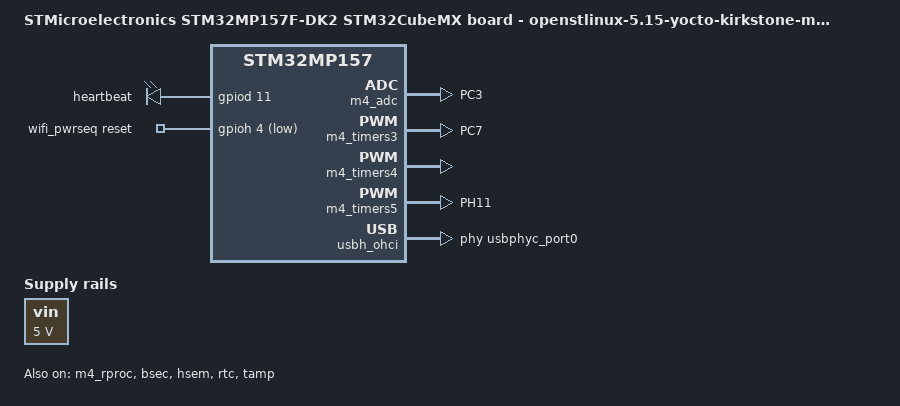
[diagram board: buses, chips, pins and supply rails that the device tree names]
/* SPDX-License-Identifier: (GPL-2.0+ OR BSD-3-Clause) */
/*
 * Copyright (C) STMicroelectronics 2024 - All Rights Reserved
 * Author: STM32CubeMX code generation for STMicroelectronics.
 */

/* For more information on Device Tree configuration, please refer to
 * https://wiki.st.com/stm32mpu/wiki/Category:Device_tree_configuration
 */

/dts-v1/;
#include <dt-bindings/pinctrl/stm32-pinfunc.h>

#include "stm32mp157.dtsi"
#include "stm32mp15xf.dtsi"
#include "stm32mp15xxac-pinctrl.dtsi"
#include "stm32mp15-m4-srm.dtsi"

/* USER CODE BEGIN includes */
#include <dt-bindings/gpio/gpio.h>
#include <dt-bindings/mfd/st,stpmic1.h>
#include <dt-bindings/rtc/rtc-stm32.h>
/* USER CODE END includes */

/ {
	model = "STMicroelectronics STM32MP157F-DK2 STM32CubeMX board - openstlinux-5.15-yocto-kirkstone-mp1-v22.11.23";
	compatible = "st,stm32mp157f-bsttestrelease-mx", "st,stm32mp157";

	/* !!! log : Warning - no DDR config found: 'memory' node not generated  !!! */

	/*
	memory@??? {
		reg = < ??? >;
	};
	*/

	reserved-memory {
		#address-cells = <1>;
		#size-cells = <1>;
		ranges;

		/* USER CODE BEGIN reserved-memory */

		mcuram2:mcuram2@10000000{
			compatible = "shared-dma-pool";
			reg = <0x10000000 0x40000>;
			no-map;
		};

		vdev0vring0:vdev0vring0@10040000{
			compatible = "shared-dma-pool";
			reg = <0x10040000 0x1000>;
			no-map;
		};

		vdev0vring1:vdev0vring1@10041000{
			compatible = "shared-dma-pool";
			reg = <0x10041000 0x1000>;
			no-map;
		};

		vdev0buffer:vdev0buffer@10042000{
			compatible = "shared-dma-pool";
			reg = <0x10042000 0x4000>;
			no-map;
		};

		mcu_rsc_table:mcu_rsc_table@10048000{
			compatible = "shared-dma-pool";
			reg = <0x10048000 0x8000>;
			no-map;
		};

		mcuram:mcuram@30000000{
			compatible = "shared-dma-pool";
			reg = <0x30000000 0x40000>;
			no-map;
		};

		retram:retram@38000000{
			compatible = "shared-dma-pool";
			reg = <0x38000000 0x10000>;
			no-map;
		};

		gpu_reserved:gpu@d4000000{
			reg = <0xd4000000 0x4000000>;
			no-map;
		};

		optee@de000000{
			reg = <0xde000000 0x2000000>;
			no-map;
		};
		/* USER CODE END reserved-memory */
	};

	/* USER CODE BEGIN root */

	aliases{
		ethernet0 = &ethernet0;
		serial0 = &uart4;
		serial1 = &usart3;
		serial2 = &uart7;
		serial3 = &usart2;
	};

	led{
		compatible = "gpio-leds";

		led-blue{
			label = "heartbeat";
			gpios = <&gpiod 11 GPIO_ACTIVE_HIGH>;
			linux,default-trigger = "heartbeat";
			default-state = "off";
		};
	};

	sound:sound{
		compatible = "audio-graph-card";
		label = "STM32MP15-DK";
		routing = "Playback", "MCLK",
				"Capture", "MCLK",
				"MICL", "Mic Bias";
		dais = <&sai2a_port &sai2b_port &i2s2_port>;
		status = "okay";
	};

	vin:vin{
		compatible = "regulator-fixed";
		regulator-name = "vin";
		regulator-min-microvolt = <5000000>;
		regulator-max-microvolt = <5000000>;
		regulator-always-on;
	};

	chosen{
		#address-cells = <1>;
		#size-cells = <1>;
		ranges;
		stdout-path = "serial0:115200n8";
	};

	wifi_pwrseq:wifi-pwrseq{
		compatible = "mmc-pwrseq-simple";
		reset-gpios = <&gpioh 4 GPIO_ACTIVE_LOW>;
	};
	/* USER CODE END root */

	clocks {

		/* USER CODE BEGIN clocks */
		/* USER CODE END clocks */
	};

}; /*root*/

&pinctrl {

	m4_adc_pins_mx: m4_adc_mx-0 {
		pins {
			pinmux = <STM32_PINMUX('C', 3, ANALOG)>; /* ADC1_INP13 */
		};
	};

	m4_tim3_pins_mx: m4_tim3_mx-0 {
		pins {
			pinmux = <STM32_PINMUX('C', 7, RSVD)>; /* TIM3_CH2 */
		};
	};

	m4_tim5_pins_mx: m4_tim5_mx-0 {
		pins {
			pinmux = <STM32_PINMUX('H', 11, RSVD)>; /* TIM5_CH2 */
		};
	};

	/* USER CODE BEGIN pinctrl */
	/* USER CODE END pinctrl */
};

&pinctrl_z {

	/* USER CODE BEGIN pinctrl_z */
	/* USER CODE END pinctrl_z */
};

&m4_rproc{
	/*Restriction: "memory-region" property is not managed - please to use User-Section if needed*/
	mboxes = <&ipcc 0>, <&ipcc 1>, <&ipcc 2>;
	mbox-names = "vq0", "vq1", "shutdown";
	status = "okay";

	/* USER CODE BEGIN m4_rproc */
	memory-region = <&retram>, <&mcuram>, <&mcuram2>, <&vdev0vring0>,
			<&vdev0vring1>, <&vdev0buffer>, <&mcu_rsc_table>;
	interrupt-parent = <&exti>;
	interrupts = <68 1>;
	wakeup-source;
	/* USER CODE END m4_rproc */

	m4_system_resources{
		status = "okay";

		/* USER CODE BEGIN m4_system_resources */
		/* USER CODE END m4_system_resources */
	};
};

&bsec{
	status = "okay";

	/* USER CODE BEGIN bsec */
	/* USER CODE END bsec */
};

&dma1{
	status = "okay";

	/* USER CODE BEGIN dma1 */
	sram = <&dma_pool>;
	/* USER CODE END dma1 */
};

&dma2{
	status = "disabled";

	/* USER CODE BEGIN dma2 */
	sram = <&dma_pool>;
	/* USER CODE END dma2 */
};

&dmamux1{
	status = "okay";

	dma-masters = <&dma1>;
	dma-channels = <8>;

	/* USER CODE BEGIN dmamux1 */
	/* USER CODE END dmamux1 */
};

&hsem{
	status = "okay";

	/* USER CODE BEGIN hsem */
	/* USER CODE END hsem */
};

&ipcc{
	status = "okay";

	/* USER CODE BEGIN ipcc */
	/* USER CODE END ipcc */
};

&m4_adc{
	pinctrl-names = "default";
	pinctrl-0 = <&m4_adc_pins_mx>;
	status = "okay";

	/* USER CODE BEGIN m4_adc */
	/* USER CODE END m4_adc */
};

&m4_dma2{
	status = "okay";

	/* USER CODE BEGIN m4_dma2 */
	/* USER CODE END m4_dma2 */
};

&m4_timers3{
	pinctrl-names = "default";
	pinctrl-0 = <&m4_tim3_pins_mx>;
	status = "okay";

	/* USER CODE BEGIN m4_timers3 */
	/* USER CODE END m4_timers3 */
};

&m4_timers4{
	status = "okay";

	/* USER CODE BEGIN m4_timers4 */
	/* USER CODE END m4_timers4 */
};

&m4_timers5{
	pinctrl-names = "default";
	pinctrl-0 = <&m4_tim5_pins_mx>;
	status = "okay";

	/* USER CODE BEGIN m4_timers5 */
	/* USER CODE END m4_timers5 */
};

&mdma1{
	status = "okay";

	/* USER CODE BEGIN mdma1 */
	/* USER CODE END mdma1 */
};

&rcc{
	status = "okay";

	/* USER CODE BEGIN rcc */
	/* USER CODE END rcc */
};

&rtc{
	status = "okay";

	/* USER CODE BEGIN rtc */
	st,lsco = <RTC_OUT2_RMP>;
	/* USER CODE END rtc */
};

&tamp{
	status = "okay";

	/* USER CODE BEGIN tamp */
	/* USER CODE END tamp */
};

/* USER CODE BEGIN addons */

&cpu0{
	cpu-supply = <&vddcore>;
};

&cpu1{
	cpu-supply = <&vddcore>;
};

&sram{

	dma_pool:dma_pool@0{
		reg = <0x50000 0x10000>;
		pool;
	};
};

&pinctrl{
	stusb1600_pins_a:stusb1600-0{

		pins{
			bias-pull-up;
			pinmux = <STM32_PINMUX('I', 11, GPIO)>;
		};
	};
};

&usbh_ohci{
	phys = <&usbphyc_port0>;
};
/* USER CODE END addons */

